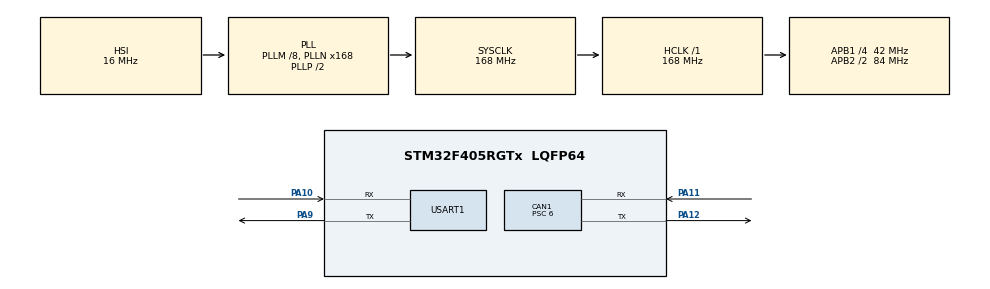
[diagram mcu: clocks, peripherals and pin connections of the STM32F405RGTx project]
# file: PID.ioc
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CAN1.BS1=CAN_BS1_4TQ
CAN1.BS2=CAN_BS2_2TQ
CAN1.CalculateBaudRate=1000000
CAN1.CalculateTimeBit=1000
CAN1.CalculateTimeQuantum=142.85714285714286
CAN1.Prescaler=6
FREERTOS.INCLUDE_vTaskDelayUntil=1
FREERTOS.Tasks01=defaultTask,0,128,StartDefaultTask,Default,NULL,Dynamic,NULL,NULL;PID,0,128,StartTask02,Default,NULL,Dynamic,NULL,NULL;myTask03,-3,128,StartTask03,Default,NULL,Dynamic,NULL,NULL
Mcu.Family=STM32F4
Mcu.Name=STM32F405RGTx
Mcu.Package=LQFP64
NVIC.CAN1_RX0_IRQn=true\:5\:0\:false\:false\:true\:true\:true\:true\:true
NVIC.CAN1_RX1_IRQn=true\:5\:0\:false\:false\:true\:true\:true\:true\:true
NVIC.CAN1_SCE_IRQn=true\:5\:0\:false\:false\:true\:true\:true\:true\:true
NVIC.CAN1_TX_IRQn=true\:5\:0\:false\:false\:true\:true\:true\:true\:true
NVIC.PriorityGroup=NVIC_PRIORITYGROUP_4
NVIC.TIM4_IRQn=true\:15\:0\:false\:false\:true\:false\:false\:true\:true
NVIC.TimeBase=TIM4_IRQn
NVIC.TimeBaseIP=TIM4
PA10.Mode=Asynchronous
PA10.Signal=USART1_RX
PA11.Mode=CAN_Activate
PA11.Signal=CAN1_RX
PA12.Mode=CAN_Activate
PA12.Signal=CAN1_TX
PA13.Mode=Serial_Wire
PA13.Signal=SYS_JTMS-SWDIO
PA14.Mode=Serial_Wire
PA14.Signal=SYS_JTCK-SWCLK
PA9.Mode=Asynchronous
PA9.Signal=USART1_TX
PC14-OSC32_IN.Mode=LSE-External-Oscillator
PC14-OSC32_IN.Signal=RCC_OSC32_IN
PC15-OSC32_OUT.Mode=LSE-External-Oscillator
PC15-OSC32_OUT.Signal=RCC_OSC32_OUT
PH0-OSC_IN.Mode=HSE-External-Oscillator
PH0-OSC_IN.Signal=RCC_OSC_IN
PH1-OSC_OUT.Mode=HSE-External-Oscillator
PH1-OSC_OUT.Signal=RCC_OSC_OUT
ProjectManager.HeapSize=0x200
ProjectManager.StackSize=0x400
ProjectManager.TargetToolchain=MDK-ARM V5.32
RCC.48MHZClocksFreq_Value=84000000
RCC.AHBFreq_Value=168000000
RCC.APB1CLKDivider=RCC_HCLK_DIV4
RCC.APB1Freq_Value=42000000
RCC.APB1TimFreq_Value=84000000
RCC.APB2CLKDivider=RCC_HCLK_DIV2
RCC.APB2Freq_Value=84000000
RCC.APB2TimFreq_Value=168000000
RCC.CortexFreq_Value=168000000
RCC.HCLKFreq_Value=168000000
RCC.HSE_VALUE=25000000
RCC.HSI_VALUE=16000000
RCC.PLLM=8
RCC.PLLN=168
RCC.SYSCLKFreq_VALUE=168000000
RCC.SYSCLKSource=RCC_SYSCLKSOURCE_PLLCLK
RCC.VCOOutputFreq_Value=336000000
USART1.VirtualMode=VM_ASYNC
VP_FREERTOS_VS_CMSIS_V1.Mode=CMSIS_V1
VP_SYS_VS_tim4.Mode=TIM4
board=custom

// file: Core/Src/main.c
/* USER CODE BEGIN Header */
/**
 ******************************************************************************
 * @file           : main.c
 * @brief          : Main program body
 ******************************************************************************
 * @attention
 *
 * Copyright (c) 2024 STMicroelectronics.
 * All rights reserved.
 *
 * This software is licensed under terms that can be found in the LICENSE file
 * in the root directory of this software component.
 * If no LICENSE file comes with this software, it is provided AS-IS.
 *
 ******************************************************************************
 */
/* USER CODE END Header */
#include "main.h"
#include "cmsis_os.h"

/* USER CODE BEGIN Includes */
#include "stdio.h"
#include "FreeRTOS.h"
#include "task.h"

/* USER CODE END Includes */

/* USER CODE BEGIN PD */
float feedbackValue;
float feedbackValue1;
float targetValue = 111;

uint32_t RxID;
uint8_t RxLength = 8;
uint8_t RxData[8];

int16_t Speed;

float alpha = 0.05;  // 平滑因子
/* USER CODE END PD */

CAN_HandleTypeDef hcan1;

UART_HandleTypeDef huart1;

osThreadId defaultTaskHandle;
osThreadId PIDHandle;
osThreadId myTask03Handle;
/* USER CODE BEGIN PV */
QueueHandle_t QueueHandler;
/* USER CODE END PV */

void SystemClock_Config(void);
static void MX_GPIO_Init(void);
static void MX_CAN1_Init(void);
static void MX_USART1_UART_Init(void);
void StartDefaultTask(void const *argument);
void StartTask02(void const *argument);
void StartTask03(void const *argument);

/* USER CODE BEGIN 0 */
typedef struct
{
  float kp, ki, kd;            // 三个系数
  float error, lastError;      // 误差、上次误�?????
  float integral, maxIntegral; // 积分、积分限�?????
  float output, maxOutput;     // 输出、输出限�?????
} PID;

// 用于初始化pid参数的函�?????
void PID_Init(PID *pid, float p, float i, float d, float maxI, float maxOut)
{
  pid->kp = p;
  pid->ki = i;
  pid->kd = d;
  pid->maxIntegral = maxI;
  pid->maxOutput = maxOut;
}

// 进行�?????次pid计算
// 参数�?????(pid结构�?????,目标�?????,反馈�?????)，计算结果放在pid结构体的output成员成员�?????
void PID_Calc(PID *pid, float reference, float feedback)
{
  // 更新数据
  pid->lastError = pid->error;       // 将旧error存起�?????
  pid->error = reference - feedback; // 计算新error
  // 计算微分
  static float dout;
  dout = (pid->error - pid->lastError) * pid->kd;
  // 计算比例
  static float pout;
  pout = pid->error * pid->kp;
  // 计算积分
  pid->integral += pid->error;
  static float iout;
  iout = pid->integral * pid->ki;
  // 积分限幅
  if (pid->integral > pid->maxIntegral)
    pid->integral = pid->maxIntegral;
  else if (pid->integral < -pid->maxIntegral)
    pid->integral = -pid->maxIntegral;
  // 计算输出
  pid->output = pout + dout + iout;
  // 输出限幅
  if (pid->output > pid->maxOutput)
    pid->output = pid->maxOutput;
  else if (pid->output < -pid->maxOutput)
    pid->output = -pid->maxOutput;
}

float emaFilter(float input, float *prev_ema, float alpha)
{
  // 计算新的 EMA �?
  *prev_ema = alpha * input + (1.0f - alpha) * (*prev_ema);
  return *prev_ema;
}

void FilterInit(void)
{
  CAN_FilterTypeDef CAN_FilterInitStructure;
  CAN_FilterInitStructure.FilterActivation = ENABLE;
  CAN_FilterInitStructure.FilterBank = 0;
  CAN_FilterInitStructure.FilterFIFOAssignment = CAN_FILTER_FIFO0;
  CAN_FilterInitStructure.FilterIdHigh = 0x0000;
  CAN_FilterInitStructure.FilterIdLow = 0x0000;
  CAN_FilterInitStructure.FilterMaskIdHigh = 0x0000;
  CAN_FilterInitStructure.FilterMaskIdLow = 0x0000;
  CAN_FilterInitStructure.FilterMode = CAN_FILTERMODE_IDMASK;
  CAN_FilterInitStructure.FilterScale = CAN_FILTERSCALE_32BIT;
  CAN_FilterInitStructure.SlaveStartFilterBank = 0;
  HAL_CAN_ConfigFilter(&hcan1, &CAN_FilterInitStructure);

  if (HAL_CAN_ConfigFilter(&hcan1, &CAN_FilterInitStructure) != HAL_OK)
  {
    //  printf("CAN1 ConfigFilter Fail!!\r\n");
  }
  else
  {
    // printf("CAN1 ConfigFilter SUCCESS!!\r\n");
  }
}

void CAN1_Transmit(uint32_t ID, uint8_t Length, uint8_t *Data)
{
  CAN_TxHeaderTypeDef TxMessage = {0};
  uint8_t Tx_Buffer[8] = {0};
  uint32_t box = 0;
  TxMessage.StdId = ID;
  TxMessage.ExtId = ID;
  TxMessage.IDE = CAN_ID_STD;
  TxMessage.RTR = CAN_RTR_DATA;
  TxMessage.DLC = Length;
  TxMessage.TransmitGlobalTime = DISABLE;
  for (uint8_t i = 0; i < Length; i++)
  {
    Tx_Buffer[i] = Data[i];
  }
  HAL_StatusTypeDef TransmitMailbox;
  TransmitMailbox = HAL_CAN_AddTxMessage(&hcan1, &TxMessage, Tx_Buffer, &box);
  if (TransmitMailbox != HAL_OK)
  {
    //	printf("Transmit Error!");
  }
  else
  {
    // printf("Transmit Success!\r\n");
  }

  // vTaskDelayUntil(&xLastWakeTime,1000);
}

uint8_t CAN1_ReceiveFlag(void)
{
  if (HAL_CAN_GetRxFifoFillLevel(&hcan1, CAN_RX_FIFO0) != 0)
  {
    //	printf("CAN1 has some Message");
    return 1;
  }
  return 0;
}

void CAN1_Receive(uint32_t *ID, uint8_t *Length, uint8_t *Data)
{
  //		FilterInit();

  CAN_RxHeaderTypeDef rceStu = {0};
  if (CAN1_ReceiveFlag() != 0)
  {
    if (HAL_CAN_GetRxMessage(&hcan1, CAN_RX_FIFO0, &rceStu, Data) == HAL_OK)
    {
      // printf("rceStu.DLC: %d\r\n",rceStu.DLC);
      // printf("rceStu.ExtId: %d\r\n",rceStu.ExtId);
      // printf("rceStu.StdId: %x\r\n",rceStu.StdId);
      // printf("rceStu.Timestamp: %d\r\n",rceStu.Timestamp);
      for (uint8_t i = 0; i < rceStu.DLC; i++)
      {
        // printf(" %x",Data[i]);
      }
      //printf("\r\n");
    }
  }
  else
  {
    // printf("No CAN1 INFO!\r\n");
  }
}

//void HAL_CAN_RxFifo0MsgPendingCallback(CAN_HandleTypeDef *hcan)
//{
 // if(hcan->Instance == CAN1)
 // {
//   CAN1_Receive(&RxID, &RxLength, RxData);
//  }

//}

int fputc(int ch, FILE *f)
{
  HAL_UART_Transmit(&huart1, (uint8_t *)&ch, 1, HAL_MAX_DELAY);
  return ch;
}

int fgetc(FILE *f)
{
  uint8_t ch;
  HAL_UART_Receive(&huart1, (uint8_t *)&ch, 1, HAL_MAX_DELAY);
  return ch;
}

 PID mypid = {0};
/* USER CODE END 0 */

int main(void)
{
  /* USER CODE BEGIN 1 */
  QueueHandler = xQueueCreate(10, 4);
  if (QueueHandler == NULL)
  {
    printf("error");
  }
  /* USER CODE END 1 */

  /* MCU Configuration--------------------------------------------------------*/

  /* Reset of all peripherals, Initializes the Flash interface and the Systick. */
  HAL_Init();

  /* Configure the system clock */
  SystemClock_Config();

  /* Initialize all configured peripherals */
  MX_GPIO_Init();
  MX_CAN1_Init();
  MX_USART1_UART_Init();

  /* Create the thread(s) */
  /* definition and creation of defaultTask */
  osThreadDef(defaultTask, StartDefaultTask, osPriorityNormal, 0, 128);
  defaultTaskHandle = osThreadCreate(osThread(defaultTask), NULL);

  /* definition and creation of PID */
  osThreadDef(PID, StartTask02, osPriorityNormal, 0, 128);
  PIDHandle = osThreadCreate(osThread(PID), NULL);

  /* definition and creation of myTask03 */
  osThreadDef(myTask03, StartTask03, osPriorityIdle, 0, 128);
  myTask03Handle = osThreadCreate(osThread(myTask03), NULL);

  /* Start scheduler */
  osKernelStart();
  /* We should never get here as control is now taken by the scheduler */
  /* Infinite loop */
  while (1)
  {

  }
}

void SystemClock_Config(void)
{
  RCC_OscInitTypeDef RCC_OscInitStruct = {0};
  RCC_ClkInitTypeDef RCC_ClkInitStruct = {0};

  /** Configure the main internal regulator output voltage
   */
  __HAL_RCC_PWR_CLK_ENABLE();
  __HAL_PWR_VOLTAGESCALING_CONFIG(PWR_REGULATOR_VOLTAGE_SCALE1);

  /** Initializes the RCC Oscillators according to the specified parameters
   * in the RCC_OscInitTypeDef structure.
   */
  RCC_OscInitStruct.OscillatorType = RCC_OSCILLATORTYPE_HSI;
  RCC_OscInitStruct.HSIState = RCC_HSI_ON;
  RCC_OscInitStruct.HSICalibrationValue = RCC_HSICALIBRATION_DEFAULT;
  RCC_OscInitStruct.PLL.PLLState = RCC_PLL_ON;
  RCC_OscInitStruct.PLL.PLLSource = RCC_PLLSOURCE_HSI;
  RCC_OscInitStruct.PLL.PLLM = 8;
  RCC_OscInitStruct.PLL.PLLN = 168;
  RCC_OscInitStruct.PLL.PLLP = RCC_PLLP_DIV2;
  RCC_OscInitStruct.PLL.PLLQ = 4;
  if (HAL_RCC_OscConfig(&RCC_OscInitStruct) != HAL_OK)
  {
    Error_Handler();
  }

  /** Initializes the CPU, AHB and APB buses clocks
   */
  RCC_ClkInitStruct.ClockType = RCC_CLOCKTYPE_HCLK | RCC_CLOCKTYPE_SYSCLK | RCC_CLOCKTYPE_PCLK1 | RCC_CLOCKTYPE_PCLK2;
  RCC_ClkInitStruct.SYSCLKSource = RCC_SYSCLKSOURCE_PLLCLK;
  RCC_ClkInitStruct.AHBCLKDivider = RCC_SYSCLK_DIV1;
  RCC_ClkInitStruct.APB1CLKDivider = RCC_HCLK_DIV4;
  RCC_ClkInitStruct.APB2CLKDivider = RCC_HCLK_DIV2;

  if (HAL_RCC_ClockConfig(&RCC_ClkInitStruct, FLASH_LATENCY_5) != HAL_OK)
  {
    Error_Handler();
  }
}

static void MX_CAN1_Init(void)
{

  hcan1.Instance = CAN1;
  hcan1.Init.Prescaler = 6;
  hcan1.Init.Mode = CAN_MODE_NORMAL;
  hcan1.Init.SyncJumpWidth = CAN_SJW_1TQ;
  hcan1.Init.TimeSeg1 = CAN_BS1_4TQ;
  hcan1.Init.TimeSeg2 = CAN_BS2_2TQ;
  hcan1.Init.TimeTriggeredMode = DISABLE;
  hcan1.Init.AutoBusOff = DISABLE;
  hcan1.Init.AutoWakeUp = DISABLE;
  hcan1.Init.AutoRetransmission = DISABLE;
  hcan1.Init.ReceiveFifoLocked = DISABLE;
  hcan1.Init.TransmitFifoPriority = DISABLE;
  if (HAL_CAN_Init(&hcan1) != HAL_OK)
  {
    Error_Handler();
  }
}

static void MX_USART1_UART_Init(void)
{

  huart1.Instance = USART1;
  huart1.Init.BaudRate = 115200;
  huart1.Init.WordLength = UART_WORDLENGTH_8B;
  huart1.Init.StopBits = UART_STOPBITS_1;
  huart1.Init.Parity = UART_PARITY_NONE;
  huart1.Init.Mode = UART_MODE_TX_RX;
  huart1.Init.HwFlowCtl = UART_HWCONTROL_NONE;
  huart1.Init.OverSampling = UART_OVERSAMPLING_16;
  if (HAL_UART_Init(&huart1) != HAL_OK)
  {
    Error_Handler();
  }
}

static void MX_GPIO_Init(void)
{

  /* GPIO Ports Clock Enable */
  __HAL_RCC_GPIOC_CLK_ENABLE();
  __HAL_RCC_GPIOH_CLK_ENABLE();
  __HAL_RCC_GPIOA_CLK_ENABLE();

}

void StartDefaultTask(void const *argument)
{
  /* USER CODE BEGIN 5 */
  vTaskDelete(NULL);

  /* Infinite loop */
  for (;;)
  {
    osDelay(1);
  }
  /* USER CODE END 5 */
}

void StartTask02(void const *argument)
{
  /* USER CODE BEGIN StartTask02 */
  uint32_t TxID = 0x1FF;
  uint8_t TxLength = 8;
  uint8_t TxData[8] = {0};

//   uint32_t RxID;
//   uint8_t RxLength = 8;
//   uint8_t RxData[8];

  HAL_CAN_Start(&hcan1);

  FilterInit();

  PID_Init(&mypid, 30, 8, 5, 2000, 25000);

  uint8_t TeBuffer[4];

//  float alpha = 0.001;  // 平滑因子
  float prev_ema = 0; // 初始 EMA 值

  //	int16_t i = 0;

  //	uint16_t Angel_first;
  //	uint16_t Angel;
  //int16_t Speed;
  /* Infinite loop */
  for (;;)
  {
    TickType_t xLastWakeTime;
    xLastWakeTime = xTaskGetTickCount();

    //HAL_CAN_ActivateNotification(&hcan1, CAN_IT_RX_FIFO0_MSG_PENDING);

    CAN1_Receive(&RxID, &RxLength, RxData);
    Speed = (RxData[2] << 8) | RxData[3];

    feedbackValue = Speed; // 这里获取到被控对象的反馈值

    float ema_result = emaFilter(feedbackValue, &prev_ema, alpha);

    PID_Calc(&mypid, targetValue, ema_result); // 进行PID计算，结果在output成员变量

    // printf("Speed = %d\r\n",Speed);

    TxData[0] = (((int16_t)mypid.output) >> 8) & 0xff; // 右移八位是因为16位数据只有后面八位可以存入8位的数组
    TxData[1] = ((int16_t)mypid.output) & 0xff;

    CAN1_Transmit(TxID, TxLength, TxData);

    xQueueSend(QueueHandler, (uint8_t *)(void *)(&ema_result), 0);

    // printf("Output:%f\n",mypid.output);
    // printf("%f,%f\n",targetValue,feedbackValue);

    vTaskDelayUntil(&xLastWakeTime, 1); // 延时
  }
  /* USER CODE END StartTask02 */
}

void StartTask03(void const *argument)
{
  /* USER CODE BEGIN StartTask03 */

  /* Infinite loop */
  for (;;)
  {
    uint8_t ReBuffer[4];
    BaseType_t xStatues;
		float speed_;

    xStatues = xQueueReceive(QueueHandler, (uint8_t *)(void *)&speed_, portMAX_DELAY);
    if (xStatues == pdTRUE)
    {
			//feedbackValue1 = (ReBuffer[0] << 8)  | ReBuffer[1];
			printf("%f,%f,%f\n", targetValue, speed_,mypid.output);
    }
    vTaskDelay(3);
  }
  /* USER CODE END StartTask03 */
}

void HAL_TIM_PeriodElapsedCallback(TIM_HandleTypeDef *htim)
{
  if (htim->Instance == TIM4)
  {
    HAL_IncTick();
  }
}

void Error_Handler(void)
{
  __disable_irq();
  while (1)
  {
  }
}
